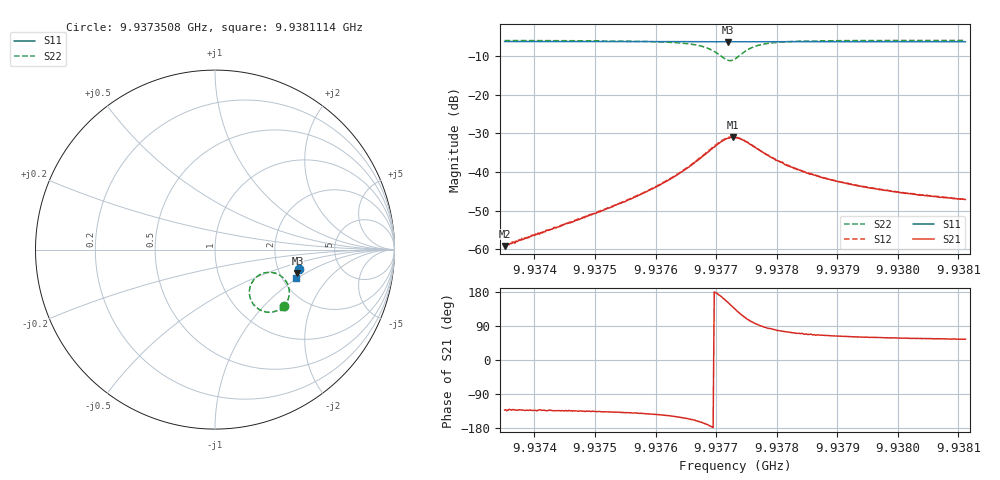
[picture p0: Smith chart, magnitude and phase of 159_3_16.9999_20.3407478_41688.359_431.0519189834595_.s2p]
#  HZ  S  RI  R  50.00
! Rohde & Schwarz Vector Network Analyzer
! Rohde-Schwarz,ZNB20-2Port,1311601062101988,3.16
! Created: UTC 3/20/2024, 10:59:11 PM
! freq[Hz]  re:S11  im:S11  re:S21  im:S21  re:S12  im:S12  re:S22  im:S22
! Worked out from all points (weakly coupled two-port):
!   401 points, 9.9373508 GHz to 9.9381114 GHz, reference 50 ohm
!   highest |S21| = -31.06 dB at 9.9377273 GHz (marker M1); lowest = -59.1 dB at 9.9373508 GHz (marker M2)
!   lowest |S11| = -6.4 dB at 9.9377197 GHz (marker M3), VSWR 2.83, Z = 124 - j42.9 ohm
!   |S11| at or under -10 dB: nowhere
!   |S22| runs from -11.2 to -6.0 dB; largest |S21 - S12| = 0.0013
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9.9373508e9  0.4707 -0.1097  -0.000743 -0.000827  -0.000723 -0.000831  0.3854 -0.3142
9.9374782e9  0.4678 -0.1184  -0.00178 -0.00179  -0.00183 -0.00177  0.3702 -0.327
9.93754095e9  0.4664 -0.1225  -0.00293 -0.00262  -0.00299 -0.00261  0.3569 -0.335
9.9376056e9  0.4648 -0.1271  -0.00544 -0.0039  -0.00563 -0.00388  0.3313 -0.3451
9.93764363e9  0.4637 -0.1297  -0.00889 -0.00477  -0.00914 -0.00465  0.3009 -0.3489
9.93767976e9  0.4619 -0.1321  -0.016 -0.00378  -0.0164 -0.00351  0.244 -0.3319
9.93769878e9  0.4607 -0.133  -0.0216 0.000762  -0.0223 0.00142  0.2035 -0.2879
9.93771019e9  0.46 -0.1331  -0.0242 0.00651  -0.0247 0.00759  0.1915 -0.237
9.93771969e9  0.4595 -0.1329  -0.0239 0.0131  -0.024 0.0142  0.2043 -0.1862
9.9377273e9  0.4597 -0.1328  -0.0215 0.0179  -0.021 0.019  0.2326 -0.1514
9.9377311e9  0.4598 -0.1328  -0.0194 0.0198  -0.019 0.021  0.2514 -0.1391
9.93774061e9  0.4603 -0.1331  -0.0137 0.0227  -0.0127 0.0235  0.3022 -0.1267
9.93775392e9  0.4607 -0.1337  -0.0061 0.0225  -0.00561 0.023  0.359 -0.1419
9.93777484e9  0.4611 -0.1354  0.00018 0.0184  0.000762 0.0184  0.4011 -0.1854
9.93779575e9  0.4609 -0.137  0.00244 0.0145  0.003 0.0146  0.4128 -0.2199
9.93781667e9  0.4606 -0.1388  0.00338 0.0118  0.00358 0.0118  0.4141 -0.2435
9.93783569e9  0.4603 -0.1404  0.00365 0.0102  0.00391 0.00987  0.4122 -0.2585
9.93785851e9  0.4596 -0.1419  0.00371 0.00854  0.00377 0.00864  0.4092 -0.2715
9.93790985e9  0.4585 -0.1453  0.00337 0.00646  0.0035 0.00642  0.4018 -0.29
9.93798591e9  0.4565 -0.1505  0.00298 0.00483  0.00308 0.00485  0.3928 -0.3056
9.93803535e9  0.4553 -0.1538  0.00277 0.00421  0.00286 0.00422  0.388 -0.3123
9.93811141e9  0.4533 -0.1587  0.00253 0.00361  0.00264 0.00356  0.3816 -0.3207
